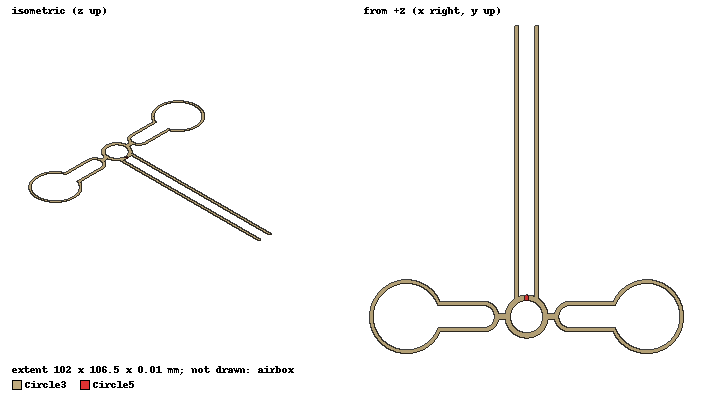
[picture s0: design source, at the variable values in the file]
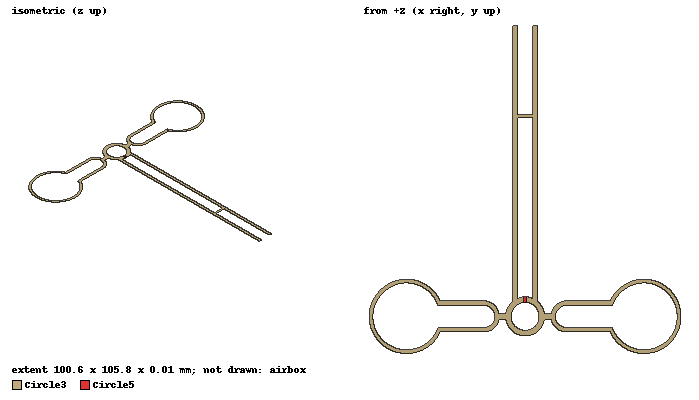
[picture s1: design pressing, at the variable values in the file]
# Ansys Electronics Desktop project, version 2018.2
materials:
  PDMS: permittivity=2.75
  air: permittivity=1.0006 permeability=1.0000004
  copper: permeability=0.999991 conductivity=58000000
  vacuum: permittivity=1

design source (HFSS, DrivenModal, model units mm)
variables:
  h2 = 50um  # 中间层厚度
  h1 = 10um  # 上环厚度
  l = 8cm
  raidus = 7mm
  width = 1.8mm
  moveDistance = 0mm
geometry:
  airbox [air] = cylinder(axis=Z, base_centre=(0mm, 0mm, -8.2cm), radius=8.2cm+l, height=h1+h2+16.4cm)
  Circle3 [copper] = circle(normal=Z, centre=(0mm, 0mm, 0mm), radius=raidus)
  Circle4 = circle(normal=Z, centre=(0mm, 0mm, 0mm), radius=raidus - width)
  Circle3.subtract(Circle4)
  Rectangle10 = rectangle(corner=(0mm, -0.5mm, 0mm), x_size=11.5mm, y_size=1mm)
  Circle5 = circle(normal=Z, centre=(0mm, 0mm, 0mm), radius=raidus)
  Circle6 = circle(normal=Z, centre=(0mm, 0mm, 0mm), radius=raidus - width)
  Circle5.subtract(Circle6)
  Circle5.intersect(Rectangle10)
  Circle7 = circle(normal=Z, centre=(0mm, 0mm, 0mm), radius=raidus)
  Circle8 = circle(normal=Z, centre=(0mm, 0mm, 0mm), radius=raidus - width)
  Circle7.subtract(Circle8)
  Rectangle11 = rectangle(corner=(0mm, -0.5mm, 0mm), x_size=11.5mm, y_size=1mm)
  Circle7.intersect(Rectangle11)
  Circle3.subtract(Circle7)
  Circle3.thicken(0.01mm)
  [Circle3, Circle5].rotate(axis=Z, angle=90deg)
  Rectangle12 = rectangle(corner=(-0.5mm, 4.1424285mm, 0.01mm), x_size=-1.5mm, y_size=90mm)
  Rectangle12.thicken(-0.01mm)
  Rectangle12.move(-2mm, -1.1424285mm, -0.01mm)
  Rectangle14 = rectangle(corner=(3mm, -1mm, 0mm), x_size=4mm, y_size=2mm)
  Rectangle16 = rectangle(corner=(11mm, 3.5355339mm, 0mm), x_size=17mm, y_size=1.4644661mm)
  Rectangle16_1 = Rectangle16.duplicate_mirror(point=(17mm, 0mm, 0mm), normal=(0mm, -1mm, 0mm))
  Circle9 = circle(normal=Z, centre=(11mm, 0mm, 0mm), radius=5mm)
  Circle10 = circle(normal=Z, centre=(11mm, 0mm, 0mm), radius=3.5355339mm)
  Circle9.subtract(Circle10)
  Rectangle15 = rectangle(corner=(11mm, -6mm, 0mm), x_size=7mm, y_size=13mm)
  Circle9.subtract(Rectangle15)
  Rectangle16.unite(Rectangle16_1, Circle9)
  Circle13 = circle(normal=Z, centre=(36mm, 0mm, 0mm), radius=10.77033mm)
  Rectangle16.subtract(Circle13)
  Circle11 = circle(normal=Z, centre=(36mm, 0mm, 0mm), radius=12mm)
  Circle12 = circle(normal=Z, centre=(36mm, 0mm, 0mm), radius=10.77033mm)
  Circle11.subtract(Circle12)
  Rectangle17 = rectangle(corner=(19.5mm, -3.5355339mm, 0mm), x_size=8.5mm, y_size=7.8033009mm)
  Circle11.subtract(Rectangle17)
  Rectangle14.unite(Rectangle16, Circle11)
  Rectangle14.thicken(0.01mm)
  Rectangle14.move(1.5mm, 0mm, 0mm)
  Rectangle12_1 = Rectangle12.duplicate_mirror(point=(0mm, 10mm, 0mm), normal=(1mm, 0mm, 0mm))
  Rectangle12.unite(Rectangle12_1)
  Rectangle12.move(0mm, raidus - 5.5mm, 0mm)
  Rectangle14.move(raidus - 5.5mm, 0mm, 0mm)
  Rectangle14_1 = Rectangle14.duplicate_mirror(point=(0mm, 8mm, 0mm), normal=(-1mm, 0mm, 0mm))
  Rectangle14.unite(Rectangle14_1)
  Circle3.unite(Rectangle14, Rectangle12)
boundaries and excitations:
  Rad1: Radiation Objects=airbox
  2: Lumped Port Objects=Circle5 Modes{Mode1{IntLine{Rectangle10.edge(y at corner) at 0.472 along -> Rectangle10.edge(y opposite corner) at 0.528 along} CharImp=Zpi}} Impedance="(1.7152+59.65*1i) ohm"
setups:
  Setup1: HfssDriven Frequency=0.922GHz MaxDeltaS=0.02 MaximumPasses=20 MinimumPasses=1 MinimumConvergedPasses=1 PercentRefinement=30 BasisOrder=1 PortAccuracy=2
    sweep Sweep: 0.9GHz to 1GHz step 0.001GHz; Type=Fast SaveFields
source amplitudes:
  2:1: 1W 0deg
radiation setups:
  Infinite Sphere1: Infinite Sphere Theta=0deg..180deg step 2deg Phi=-180deg..180deg step 2deg
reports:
  Z Parameter Plot 1: re(Z(2,2)), im(Z(2,2)) vs Freq on Setup1 : Sweep; markers MX1 at x=9.2414474e+08

design pressing (HFSS, DrivenModal, model units mm)
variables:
  h2 = 50um  # 中间层厚度
  h1 = 10um  # 上环厚度
  l = 8cm
  raidus = 6.3mm
  width = 1.8mm
  moveDistance = 50mm
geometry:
  airbox [air] = cylinder(axis=Z, base_centre=(0mm, 0mm, -8.2cm), radius=8.2cm+l, height=h1+h2+16.4cm)
  Circle3 [copper] = circle(normal=Z, centre=(0mm, 0mm, 0mm), radius=raidus)
  Circle4 = circle(normal=Z, centre=(0mm, 0mm, 0mm), radius=raidus - width)
  Circle3.subtract(Circle4)
  Rectangle10 = rectangle(corner=(0mm, -0.5mm, 0mm), x_size=11.5mm, y_size=1mm)
  Circle5 = circle(normal=Z, centre=(0mm, 0mm, 0mm), radius=raidus)
  Circle6 = circle(normal=Z, centre=(0mm, 0mm, 0mm), radius=raidus - width)
  Circle5.subtract(Circle6)
  Circle5.intersect(Rectangle10)
  Circle7 = circle(normal=Z, centre=(0mm, 0mm, 0mm), radius=raidus)
  Circle8 = circle(normal=Z, centre=(0mm, 0mm, 0mm), radius=raidus - width)
  Circle7.subtract(Circle8)
  Rectangle11 = rectangle(corner=(0mm, -0.5mm, 0mm), x_size=11.5mm, y_size=1mm)
  Circle7.intersect(Rectangle11)
  Circle3.subtract(Circle7)
  Circle3.thicken(0.01mm)
  [Circle3, Circle5].rotate(axis=Z, angle=90deg)
  Rectangle12 = rectangle(corner=(-0.5mm, 4.1424285mm, 0.01mm), x_size=-1.5mm, y_size=90mm)
  Rectangle12.thicken(-0.01mm)
  Rectangle12.move(-2mm, -1.1424285mm, -0.01mm)
  Rectangle14 = rectangle(corner=(3mm, -1mm, 0mm), x_size=4mm, y_size=2mm)
  Rectangle16 = rectangle(corner=(11mm, 3.5355339mm, 0mm), x_size=17mm, y_size=1.4644661mm)
  Rectangle16_1 = Rectangle16.duplicate_mirror(point=(17mm, 0mm, 0mm), normal=(0mm, -1mm, 0mm))
  Circle9 = circle(normal=Z, centre=(11mm, 0mm, 0mm), radius=5mm)
  Circle10 = circle(normal=Z, centre=(11mm, 0mm, 0mm), radius=3.5355339mm)
  Circle9.subtract(Circle10)
  Rectangle15 = rectangle(corner=(11mm, -6mm, 0mm), x_size=7mm, y_size=13mm)
  Circle9.subtract(Rectangle15)
  Rectangle16.unite(Rectangle16_1, Circle9)
  Circle13 = circle(normal=Z, centre=(36mm, 0mm, 0mm), radius=10.77033mm)
  Rectangle16.subtract(Circle13)
  Circle11 = circle(normal=Z, centre=(36mm, 0mm, 0mm), radius=12mm)
  Circle12 = circle(normal=Z, centre=(36mm, 0mm, 0mm), radius=10.77033mm)
  Circle11.subtract(Circle12)
  Rectangle17 = rectangle(corner=(19.5mm, -3.5355339mm, 0mm), x_size=8.5mm, y_size=7.8033009mm)
  Circle11.subtract(Rectangle17)
  Rectangle14.unite(Rectangle16, Circle11)
  Rectangle14.thicken(0.01mm)
  Rectangle14.move(1.5mm, 0mm, 0mm)
  Rectangle12_1 = Rectangle12.duplicate_mirror(point=(0mm, 10mm, 0mm), normal=(1mm, 0mm, 0mm))
  Rectangle12.unite(Rectangle12_1)
  Rectangle12.move(0mm, raidus - 5.5mm, 0mm)
  Rectangle14.move(raidus - 5.5mm, 0mm, 0mm)
  Rectangle14_1 = Rectangle14.duplicate_mirror(point=(0mm, 8mm, 0mm), normal=(-1mm, 0mm, 0mm))
  Rectangle14.unite(Rectangle14_1)
  Circle3.unite(Rectangle14, Rectangle12)
  Rectangle18 = rectangle(corner=(-3mm, 14mm, 0mm), x_size=6mm, y_size=1mm)
  Rectangle18.thicken(0.01mm)
  Rectangle18.move(0mm, moveDistance, 0mm)
  Circle3.unite(Rectangle18)
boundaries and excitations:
  Rad1: Radiation Objects=airbox
  2: Lumped Port Objects=Circle5 Modes{Mode1{IntLine{Rectangle10.edge(y at corner) at 0.472 along -> Rectangle10.edge(y opposite corner) at 0.528 along} CharImp=Zpi}} Impedance="(1.7152+59.65*1i) ohm"
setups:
  Setup1: HfssDriven Frequency=0.922GHz MaxDeltaS=0.02 MaximumPasses=20 MinimumPasses=1 MinimumConvergedPasses=1 PercentRefinement=30 BasisOrder=1 PortAccuracy=2
    sweep Sweep: 0.9GHz to 1GHz step 0.001GHz; Type=Fast SaveFields
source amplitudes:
  2:1: 1W 0deg
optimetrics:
  ParametricSetup1: Parametric Sim._Setups=[Setup1]
    sweep moveDistance: LIN 5mm 40mm 5mm
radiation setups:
  Infinite Sphere1: Infinite Sphere Theta=0deg..180deg step 2deg Phi=-180deg..180deg step 2deg
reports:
  Z Parameter Plot 1: re(Z(2,2)), im(Z(2,2)) vs Freq on Setup1 : Sweep [moveDistance=all]; markers MX1 at x=9.2420213e+08
